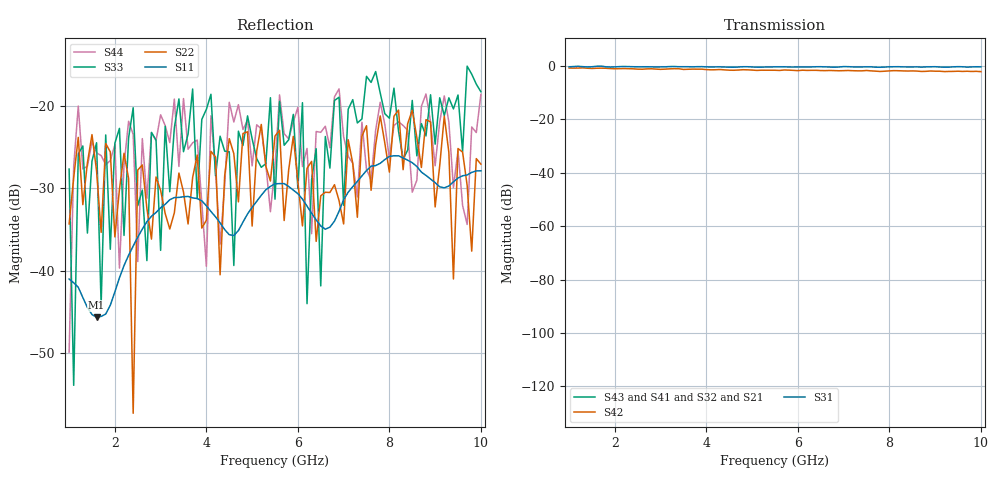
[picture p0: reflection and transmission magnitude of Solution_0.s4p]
# GHZ S RI R 50
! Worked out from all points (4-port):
!   91 points, 1 GHz to 10 GHz, reference 50 ohm
!   strongest paths, dB at 1 GHz, 3.2 GHz, 5.5 GHz, 7.8 GHz, 10 GHz:
!     S31: -0.3, -0.2, -0.3, -0.5, -0.3
!     S42: -0.8, -1.1, -1.6, -2.1, -2.1
!     S43: -, -, -, -, -
!     S41: -, -, -, -, -
!     S32: -, -, -, -, -
!     S21: -, -, -, -, -
!   lowest |S11| = -45.7 dB at 1.6 GHz (marker M1), VSWR 1.01, Z = 50.2 + j0.46 ohm
!   |S11| at or under -10 dB: start of sweep to end of sweep
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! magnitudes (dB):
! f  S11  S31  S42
! 1 GHz  -41.0  -0.3  -0.8
! 1.1 GHz  -41.5  -0.2  -0.8
! 1.6 GHz  -45.7  -0.1  -0.9
! 2.3 GHz  -38.1  -0.3  -1.0
! 2.4 GHz  -37.0  -0.3  -1.1
! 2.6 GHz  -34.9  -0.3  -1.2
! 10 GHz  -27.9  -0.3  -2.1
